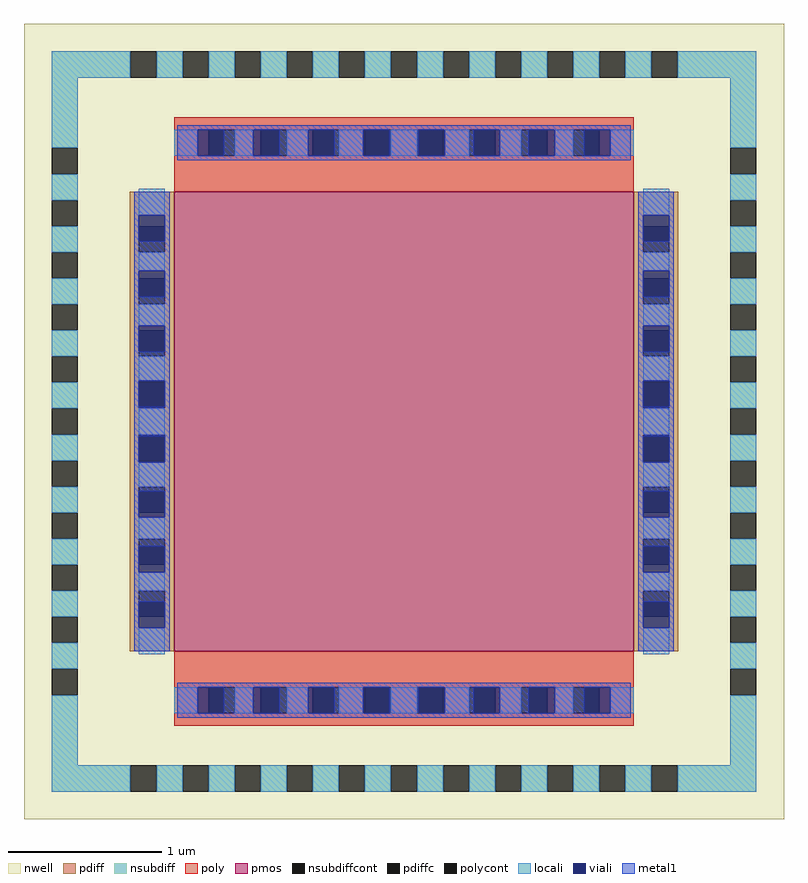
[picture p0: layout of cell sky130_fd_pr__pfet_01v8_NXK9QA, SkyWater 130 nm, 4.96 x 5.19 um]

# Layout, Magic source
magic
tech sky130A
magscale 1 2
<< nwell >>
rect -496 -519 496 519
<< pmos >>
rect -300 -300 300 300
<< pdiff >>
rect -358 255 -300 300
rect -358 221 -346 255
rect -312 221 -300 255
rect -358 187 -300 221
rect -358 153 -346 187
rect -312 153 -300 187
rect -358 119 -300 153
rect -358 85 -346 119
rect -312 85 -300 119
rect -358 51 -300 85
rect -358 17 -346 51
rect -312 17 -300 51
rect -358 -17 -300 17
rect -358 -51 -346 -17
rect -312 -51 -300 -17
rect -358 -85 -300 -51
rect -358 -119 -346 -85
rect -312 -119 -300 -85
rect -358 -153 -300 -119
rect -358 -187 -346 -153
rect -312 -187 -300 -153
rect -358 -221 -300 -187
rect -358 -255 -346 -221
rect -312 -255 -300 -221
rect -358 -300 -300 -255
rect 300 255 358 300
rect 300 221 312 255
rect 346 221 358 255
rect 300 187 358 221
rect 300 153 312 187
rect 346 153 358 187
rect 300 119 358 153
rect 300 85 312 119
rect 346 85 358 119
rect 300 51 358 85
rect 300 17 312 51
rect 346 17 358 51
rect 300 -17 358 17
rect 300 -51 312 -17
rect 346 -51 358 -17
rect 300 -85 358 -51
rect 300 -119 312 -85
rect 346 -119 358 -85
rect 300 -153 358 -119
rect 300 -187 312 -153
rect 346 -187 358 -153
rect 300 -221 358 -187
rect 300 -255 312 -221
rect 346 -255 358 -221
rect 300 -300 358 -255
<< pdiffc >>
rect -346 221 -312 255
rect -346 153 -312 187
rect -346 85 -312 119
rect -346 17 -312 51
rect -346 -51 -312 -17
rect -346 -119 -312 -85
rect -346 -187 -312 -153
rect -346 -255 -312 -221
rect 312 221 346 255
rect 312 153 346 187
rect 312 85 346 119
rect 312 17 346 51
rect 312 -51 346 -17
rect 312 -119 346 -85
rect 312 -187 346 -153
rect 312 -255 346 -221
<< nsubdiff >>
rect -460 449 -357 483
rect -323 449 -289 483
rect -255 449 -221 483
rect -187 449 -153 483
rect -119 449 -85 483
rect -51 449 -17 483
rect 17 449 51 483
rect 85 449 119 483
rect 153 449 187 483
rect 221 449 255 483
rect 289 449 323 483
rect 357 449 460 483
rect -460 357 -426 449
rect -460 289 -426 323
rect 426 357 460 449
rect -460 221 -426 255
rect -460 153 -426 187
rect -460 85 -426 119
rect -460 17 -426 51
rect -460 -51 -426 -17
rect -460 -119 -426 -85
rect -460 -187 -426 -153
rect -460 -255 -426 -221
rect -460 -323 -426 -289
rect 426 289 460 323
rect 426 221 460 255
rect 426 153 460 187
rect 426 85 460 119
rect 426 17 460 51
rect 426 -51 460 -17
rect 426 -119 460 -85
rect 426 -187 460 -153
rect 426 -255 460 -221
rect -460 -449 -426 -357
rect 426 -323 460 -289
rect 426 -449 460 -357
rect -460 -483 -357 -449
rect -323 -483 -289 -449
rect -255 -483 -221 -449
rect -187 -483 -153 -449
rect -119 -483 -85 -449
rect -51 -483 -17 -449
rect 17 -483 51 -449
rect 85 -483 119 -449
rect 153 -483 187 -449
rect 221 -483 255 -449
rect 289 -483 323 -449
rect 357 -483 460 -449
<< nsubdiffcont >>
rect -357 449 -323 483
rect -289 449 -255 483
rect -221 449 -187 483
rect -153 449 -119 483
rect -85 449 -51 483
rect -17 449 17 483
rect 51 449 85 483
rect 119 449 153 483
rect 187 449 221 483
rect 255 449 289 483
rect 323 449 357 483
rect -460 323 -426 357
rect 426 323 460 357
rect -460 255 -426 289
rect -460 187 -426 221
rect -460 119 -426 153
rect -460 51 -426 85
rect -460 -17 -426 17
rect -460 -85 -426 -51
rect -460 -153 -426 -119
rect -460 -221 -426 -187
rect -460 -289 -426 -255
rect 426 255 460 289
rect 426 187 460 221
rect 426 119 460 153
rect 426 51 460 85
rect 426 -17 460 17
rect 426 -85 460 -51
rect 426 -153 460 -119
rect 426 -221 460 -187
rect 426 -289 460 -255
rect -460 -357 -426 -323
rect 426 -357 460 -323
rect -357 -483 -323 -449
rect -289 -483 -255 -449
rect -221 -483 -187 -449
rect -153 -483 -119 -449
rect -85 -483 -51 -449
rect -17 -483 17 -449
rect 51 -483 85 -449
rect 119 -483 153 -449
rect 187 -483 221 -449
rect 255 -483 289 -449
rect 323 -483 357 -449
<< poly >>
rect -300 381 300 397
rect -300 347 -255 381
rect -221 347 -187 381
rect -153 347 -119 381
rect -85 347 -51 381
rect -17 347 17 381
rect 51 347 85 381
rect 119 347 153 381
rect 187 347 221 381
rect 255 347 300 381
rect -300 300 300 347
rect -300 -347 300 -300
rect -300 -381 -255 -347
rect -221 -381 -187 -347
rect -153 -381 -119 -347
rect -85 -381 -51 -347
rect -17 -381 17 -347
rect 51 -381 85 -347
rect 119 -381 153 -347
rect 187 -381 221 -347
rect 255 -381 300 -347
rect -300 -397 300 -381
<< polycont >>
rect -255 347 -221 381
rect -187 347 -153 381
rect -119 347 -85 381
rect -51 347 -17 381
rect 17 347 51 381
rect 85 347 119 381
rect 153 347 187 381
rect 221 347 255 381
rect -255 -381 -221 -347
rect -187 -381 -153 -347
rect -119 -381 -85 -347
rect -51 -381 -17 -347
rect 17 -381 51 -347
rect 85 -381 119 -347
rect 153 -381 187 -347
rect 221 -381 255 -347
<< locali >>
rect -460 449 -357 483
rect -323 449 -289 483
rect -255 449 -221 483
rect -187 449 -153 483
rect -119 449 -85 483
rect -51 449 -17 483
rect 17 449 51 483
rect 85 449 119 483
rect 153 449 187 483
rect 221 449 255 483
rect 289 449 323 483
rect 357 449 460 483
rect -460 357 -426 449
rect -300 347 -269 381
rect -221 347 -197 381
rect -153 347 -125 381
rect -85 347 -53 381
rect -17 347 17 381
rect 53 347 85 381
rect 125 347 153 381
rect 197 347 221 381
rect 269 347 300 381
rect 426 357 460 449
rect -460 289 -426 323
rect -460 221 -426 255
rect -460 153 -426 187
rect -460 85 -426 119
rect -460 17 -426 51
rect -460 -51 -426 -17
rect -460 -119 -426 -85
rect -460 -187 -426 -153
rect -460 -255 -426 -221
rect -460 -323 -426 -289
rect -346 269 -312 304
rect -346 197 -312 221
rect -346 125 -312 153
rect -346 53 -312 85
rect -346 -17 -312 17
rect -346 -85 -312 -53
rect -346 -153 -312 -125
rect -346 -221 -312 -197
rect -346 -304 -312 -269
rect 312 269 346 304
rect 312 197 346 221
rect 312 125 346 153
rect 312 53 346 85
rect 312 -17 346 17
rect 312 -85 346 -53
rect 312 -153 346 -125
rect 312 -221 346 -197
rect 312 -304 346 -269
rect 426 289 460 323
rect 426 221 460 255
rect 426 153 460 187
rect 426 85 460 119
rect 426 17 460 51
rect 426 -51 460 -17
rect 426 -119 460 -85
rect 426 -187 460 -153
rect 426 -255 460 -221
rect 426 -323 460 -289
rect -460 -449 -426 -357
rect -300 -381 -269 -347
rect -221 -381 -197 -347
rect -153 -381 -125 -347
rect -85 -381 -53 -347
rect -17 -381 17 -347
rect 53 -381 85 -347
rect 125 -381 153 -347
rect 197 -381 221 -347
rect 269 -381 300 -347
rect 426 -449 460 -357
rect -460 -483 -357 -449
rect -323 -483 -289 -449
rect -255 -483 -221 -449
rect -187 -483 -153 -449
rect -119 -483 -85 -449
rect -51 -483 -17 -449
rect 17 -483 51 -449
rect 85 -483 119 -449
rect 153 -483 187 -449
rect 221 -483 255 -449
rect 289 -483 323 -449
rect 357 -483 460 -449
<< viali >>
rect -269 347 -255 381
rect -255 347 -235 381
rect -197 347 -187 381
rect -187 347 -163 381
rect -125 347 -119 381
rect -119 347 -91 381
rect -53 347 -51 381
rect -51 347 -19 381
rect 19 347 51 381
rect 51 347 53 381
rect 91 347 119 381
rect 119 347 125 381
rect 163 347 187 381
rect 187 347 197 381
rect 235 347 255 381
rect 255 347 269 381
rect -346 255 -312 269
rect -346 235 -312 255
rect -346 187 -312 197
rect -346 163 -312 187
rect -346 119 -312 125
rect -346 91 -312 119
rect -346 51 -312 53
rect -346 19 -312 51
rect -346 -51 -312 -19
rect -346 -53 -312 -51
rect -346 -119 -312 -91
rect -346 -125 -312 -119
rect -346 -187 -312 -163
rect -346 -197 -312 -187
rect -346 -255 -312 -235
rect -346 -269 -312 -255
rect 312 255 346 269
rect 312 235 346 255
rect 312 187 346 197
rect 312 163 346 187
rect 312 119 346 125
rect 312 91 346 119
rect 312 51 346 53
rect 312 19 346 51
rect 312 -51 346 -19
rect 312 -53 346 -51
rect 312 -119 346 -91
rect 312 -125 346 -119
rect 312 -187 346 -163
rect 312 -197 346 -187
rect 312 -255 346 -235
rect 312 -269 346 -255
rect -269 -381 -255 -347
rect -255 -381 -235 -347
rect -197 -381 -187 -347
rect -187 -381 -163 -347
rect -125 -381 -119 -347
rect -119 -381 -91 -347
rect -53 -381 -51 -347
rect -51 -381 -19 -347
rect 19 -381 51 -347
rect 51 -381 53 -347
rect 91 -381 119 -347
rect 119 -381 125 -347
rect 163 -381 187 -347
rect 187 -381 197 -347
rect 235 -381 255 -347
rect 255 -381 269 -347
<< metal1 >>
rect -296 381 296 387
rect -296 347 -269 381
rect -235 347 -197 381
rect -163 347 -125 381
rect -91 347 -53 381
rect -19 347 19 381
rect 53 347 91 381
rect 125 347 163 381
rect 197 347 235 381
rect 269 347 296 381
rect -296 341 296 347
rect -352 269 -306 300
rect -352 235 -346 269
rect -312 235 -306 269
rect -352 197 -306 235
rect -352 163 -346 197
rect -312 163 -306 197
rect -352 125 -306 163
rect -352 91 -346 125
rect -312 91 -306 125
rect -352 53 -306 91
rect -352 19 -346 53
rect -312 19 -306 53
rect -352 -19 -306 19
rect -352 -53 -346 -19
rect -312 -53 -306 -19
rect -352 -91 -306 -53
rect -352 -125 -346 -91
rect -312 -125 -306 -91
rect -352 -163 -306 -125
rect -352 -197 -346 -163
rect -312 -197 -306 -163
rect -352 -235 -306 -197
rect -352 -269 -346 -235
rect -312 -269 -306 -235
rect -352 -300 -306 -269
rect 306 269 352 300
rect 306 235 312 269
rect 346 235 352 269
rect 306 197 352 235
rect 306 163 312 197
rect 346 163 352 197
rect 306 125 352 163
rect 306 91 312 125
rect 346 91 352 125
rect 306 53 352 91
rect 306 19 312 53
rect 346 19 352 53
rect 306 -19 352 19
rect 306 -53 312 -19
rect 346 -53 352 -19
rect 306 -91 352 -53
rect 306 -125 312 -91
rect 346 -125 352 -91
rect 306 -163 352 -125
rect 306 -197 312 -163
rect 346 -197 352 -163
rect 306 -235 352 -197
rect 306 -269 312 -235
rect 346 -269 352 -235
rect 306 -300 352 -269
rect -296 -347 296 -341
rect -296 -381 -269 -347
rect -235 -381 -197 -347
rect -163 -381 -125 -347
rect -91 -381 -53 -347
rect -19 -381 19 -347
rect 53 -381 91 -347
rect 125 -381 163 -347
rect 197 -381 235 -347
rect 269 -381 296 -347
rect -296 -387 296 -381
<< properties >>
string FIXED_BBOX -443 -466 443 466
<< end >>
